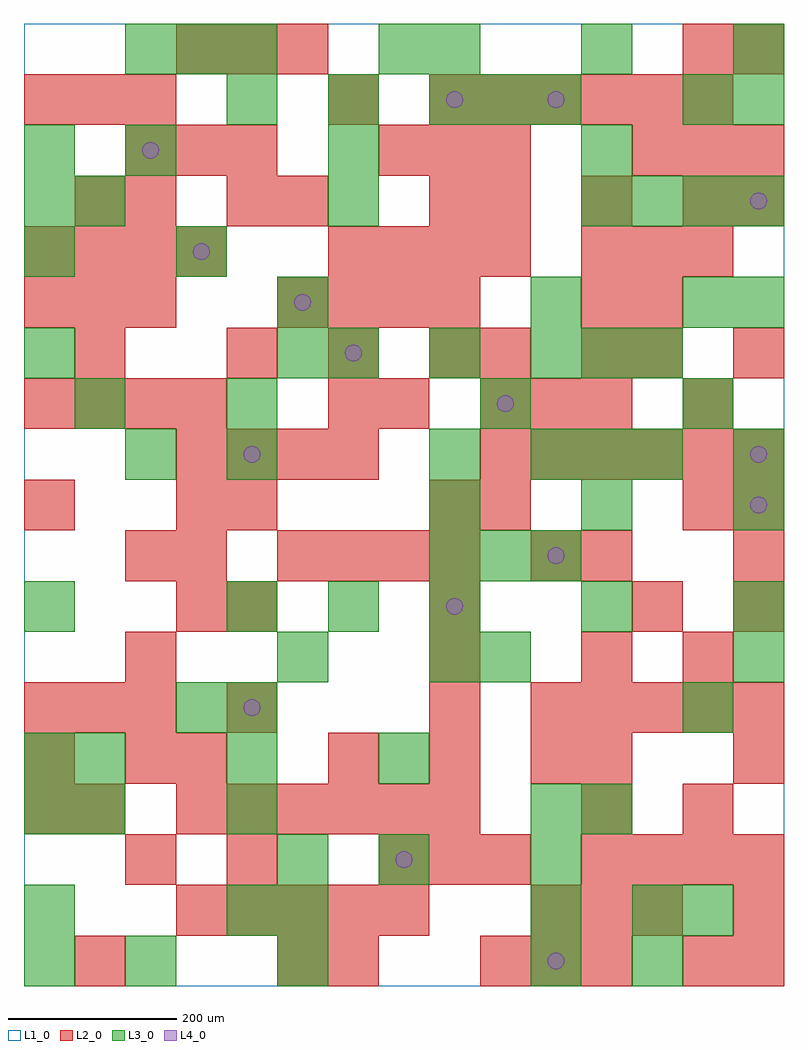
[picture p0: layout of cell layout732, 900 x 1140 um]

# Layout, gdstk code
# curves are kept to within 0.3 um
import gdstk
lib = gdstk.Library(unit=1e-6, precision=1e-09)
def R(c, l, rs):  # rectangles x0, y0, x1, y1
    for r in rs: c.add(gdstk.rectangle(r[:2], r[2:], *l))
def A(c, l, x, y, w, h, nx, ny, dx, dy):  # array of equal rectangles
    R(c, l, [(x+i*dx, y+j*dy, x+i*dx+w, y+j*dy+h) for i in range(nx) for j in range(ny)])
def P(c, l, *ps):  # polygons
    for p in ps: c.add(gdstk.Polygon(p, *l))
L1_0 = (1, 0)
L2_0 = (2, 0)
L3_0 = (3, 0)
L4_0 = (4, 0)

layout732 = lib.new_cell('layout732')
R(layout732, L1_0, [(0,0,900,1140)])
A(layout732, L2_0, 540, 0, 60, 60, 3, 2, 60, 660)
A(layout732, L2_0, 780, 0, 60, 60, 1, 4, 0, 180)
A(layout732, L2_0, 180, 60, 60, 60, 5, 1, 60, 0)
A(layout732, L2_0, 600, 60, 60, 60, 3, 1, 60, 0)
A(layout732, L2_0, 840, 60, 60, 60, 1, 3, 0, 180)
A(layout732, L2_0, 120, 120, 60, 60, 1, 4, 0, 120)
A(layout732, L2_0, 420, 120, 60, 60, 3, 2, 60, 840)
A(layout732, L2_0, 660, 120, 60, 60, 4, 1, 60, 0)
A(layout732, L2_0, 180, 180, 60, 60, 6, 1, 60, 0)
A(layout732, L2_0, 360, 240, 60, 60, 3, 1, 120, 0)
A(layout732, L2_0, 660, 240, 60, 60, 1, 3, 0, 120)
A(layout732, L2_0, 0, 300, 60, 60, 3, 2, 60, 480)
A(layout732, L2_0, 600, 300, 60, 60, 5, 1, 60, 0)
A(layout732, L2_0, 180, 420, 60, 60, 1, 3, 0, 60)
A(layout732, L2_0, 240, 420, 60, 60, 3, 1, 240, 0)
A(layout732, L2_0, 300, 480, 60, 60, 4, 2, 60, 300)
A(layout732, L2_0, 840, 540, 60, 60, 1, 4, 0, 180)
A(layout732, L2_0, 180, 600, 60, 60, 4, 1, 60, 0)
A(layout732, L2_0, 540, 600, 60, 60, 6, 1, 60, 0)
A(layout732, L2_0, 0, 660, 60, 60, 4, 2, 60, 180)
A(layout732, L2_0, 240, 720, 60, 60, 3, 1, 120, 0)
A(layout732, L2_0, 360, 840, 60, 60, 4, 1, 60, 0)
A(layout732, L2_0, 660, 840, 60, 60, 3, 1, 60, 0)
A(layout732, L2_0, 540, 900, 60, 60, 3, 1, 120, 0)
A(layout732, L2_0, 120, 960, 60, 60, 3, 1, 60, 0)
A(layout732, L2_0, 720, 960, 60, 60, 3, 1, 60, 0)
A(layout732, L2_0, 0, 1020, 60, 60, 3, 1, 60, 0)
A(layout732, L2_0, 480, 1020, 60, 60, 6, 1, 60, 0)
A(layout732, L2_0, 180, 1080, 60, 60, 3, 1, 60, 0)
R(layout732, L2_0, [(60,0,120,60), (300,0,360,60), (360,0,420,60), (840,0,900,60), (240,120,300,180), (0,180,60,240), (60,180,120,240), (660,180,720,240), (0,240,60,300), (180,240,240,300), (240,300,300,360), (480,300,540,360), (480,360,540,420), (600,480,660,540), (840,480,900,540), (0,540,60,600), (240,540,300,600), (480,540,540,600), (540,540,600,600), (360,660,420,720), (420,660,480,720), (780,660,840,720), (60,720,120,780), (540,720,600,780), (660,720,720,780), (720,720,780,780), (660,780,720,840), (720,780,780,840), (60,900,120,960), (120,900,180,960), (240,900,300,960), (300,900,360,960), (480,900,540,960), (360,1020,420,1080), (780,1080,840,1140)])
A(layout732, L3_0, 300, 0, 60, 60, 1, 3, 0, 60)
A(layout732, L3_0, 600, 0, 60, 60, 1, 4, 0, 60)
A(layout732, L3_0, 240, 60, 60, 60, 1, 3, 0, 120)
A(layout732, L3_0, 60, 240, 60, 60, 3, 1, 180, 0)
A(layout732, L3_0, 240, 420, 60, 60, 3, 2, 120, 600)
A(layout732, L3_0, 840, 420, 60, 60, 1, 3, 0, 180)
A(layout732, L3_0, 480, 480, 60, 60, 3, 1, 60, 0)
A(layout732, L3_0, 480, 540, 60, 60, 3, 2, 180, 540)
A(layout732, L3_0, 600, 600, 60, 60, 3, 1, 60, 0)
A(layout732, L3_0, 360, 720, 60, 60, 3, 1, 120, 0)
A(layout732, L3_0, 0, 840, 60, 60, 1, 3, 0, 60)
A(layout732, L3_0, 60, 900, 60, 60, 3, 1, 300, 0)
A(layout732, L3_0, 720, 900, 60, 60, 3, 1, 60, 0)
A(layout732, L3_0, 120, 1080, 60, 60, 3, 1, 60, 0)
R(layout732, L3_0, [(0,0,60,60), (120,0,180,60), (720,0,780,60), (0,60,60,120), (720,60,780,120), (780,60,840,120), (420,120,480,180), (0,180,60,240), (60,180,120,240), (660,180,720,240), (0,240,60,300), (180,300,240,360), (780,300,840,360), (300,360,360,420), (480,360,540,420), (540,360,600,420), (840,360,900,420), (0,420,60,480), (660,420,720,480), (120,600,180,660), (240,600,300,660), (480,600,540,660), (60,660,120,720), (240,660,300,720), (540,660,600,720), (780,660,840,720), (0,720,60,780), (300,720,360,780), (660,720,720,780), (720,720,780,780), (300,780,360,840), (600,780,660,840), (780,780,840,840), (180,840,240,900), (120,960,180,1020), (360,960,420,1020), (660,960,720,1020), (540,1020,600,1080), (600,1020,660,1080), (780,1020,840,1080), (840,1020,900,1080), (420,1080,480,1140)])
P(layout732, L4_0, [(160,990),(159.239,993.827),(157.071,997.071),(153.827,999.239),(150,1000),(146.173,999.239),(142.929,997.071),(140.761,993.827),(140,990),(140.761,986.173),(142.929,982.929),(146.173,980.761),(150,980),(153.827,980.761),(157.071,982.929),(159.239,986.173)],
  [(220,870),(219.239,873.827),(217.071,877.071),(213.827,879.239),(210,880),(206.173,879.239),(202.929,877.071),(200.761,873.827),(200,870),(200.761,866.173),(202.929,862.929),(206.173,860.761),(210,860),(213.827,860.761),(217.071,862.929),(219.239,866.173)],
  [(280,330),(279.239,333.827),(277.071,337.071),(273.827,339.239),(270,340),(266.173,339.239),(262.929,337.071),(260.761,333.827),(260,330),(260.761,326.173),(262.929,322.929),(266.173,320.761),(270,320),(273.827,320.761),(277.071,322.929),(279.239,326.173)],
  [(280,630),(279.239,633.827),(277.071,637.071),(273.827,639.239),(270,640),(266.173,639.239),(262.929,637.071),(260.761,633.827),(260,630),(260.761,626.173),(262.929,622.929),(266.173,620.761),(270,620),(273.827,620.761),(277.071,622.929),(279.239,626.173)],
  [(340,810),(339.239,813.827),(337.071,817.071),(333.827,819.239),(330,820),(326.173,819.239),(322.929,817.071),(320.761,813.827),(320,810),(320.761,806.173),(322.929,802.929),(326.173,800.761),(330,800),(333.827,800.761),(337.071,802.929),(339.239,806.173)],
  [(400,750),(399.239,753.827),(397.071,757.071),(393.827,759.239),(390,760),(386.173,759.239),(382.929,757.071),(380.761,753.827),(380,750),(380.761,746.173),(382.929,742.929),(386.173,740.761),(390,740),(393.827,740.761),(397.071,742.929),(399.239,746.173)],
  [(460,150),(459.239,153.827),(457.071,157.071),(453.827,159.239),(450,160),(446.173,159.239),(442.929,157.071),(440.761,153.827),(440,150),(440.761,146.173),(442.929,142.929),(446.173,140.761),(450,140),(453.827,140.761),(457.071,142.929),(459.239,146.173)],
  [(520,450),(519.239,453.827),(517.071,457.071),(513.827,459.239),(510,460),(506.173,459.239),(502.929,457.071),(500.761,453.827),(500,450),(500.761,446.173),(502.929,442.929),(506.173,440.761),(510,440),(513.827,440.761),(517.071,442.929),(519.239,446.173)],
  [(520,1050),(519.239,1053.827),(517.071,1057.071),(513.827,1059.239),(510,1060),(506.173,1059.239),(502.929,1057.071),(500.761,1053.827),(500,1050),(500.761,1046.173),(502.929,1042.929),(506.173,1040.761),(510,1040),(513.827,1040.761),(517.071,1042.929),(519.239,1046.173)],
  [(580,690),(579.239,693.827),(577.071,697.071),(573.827,699.239),(570,700),(566.173,699.239),(562.929,697.071),(560.761,693.827),(560,690),(560.761,686.173),(562.929,682.929),(566.173,680.761),(570,680),(573.827,680.761),(577.071,682.929),(579.239,686.173)],
  [(640,30),(639.239,33.827),(637.071,37.071),(633.827,39.239),(630,40),(626.173,39.239),(622.929,37.071),(620.761,33.827),(620,30),(620.761,26.173),(622.929,22.929),(626.173,20.761),(630,20),(633.827,20.761),(637.071,22.929),(639.239,26.173)],
  [(640,510),(639.239,513.827),(637.071,517.071),(633.827,519.239),(630,520),(626.173,519.239),(622.929,517.071),(620.761,513.827),(620,510),(620.761,506.173),(622.929,502.929),(626.173,500.761),(630,500),(633.827,500.761),(637.071,502.929),(639.239,506.173)],
  [(640,1050),(639.239,1053.827),(637.071,1057.071),(633.827,1059.239),(630,1060),(626.173,1059.239),(622.929,1057.071),(620.761,1053.827),(620,1050),(620.761,1046.173),(622.929,1042.929),(626.173,1040.761),(630,1040),(633.827,1040.761),(637.071,1042.929),(639.239,1046.173)],
  [(880,570),(879.239,573.827),(877.071,577.071),(873.827,579.239),(870,580),(866.173,579.239),(862.929,577.071),(860.761,573.827),(860,570),(860.761,566.173),(862.929,562.929),(866.173,560.761),(870,560),(873.827,560.761),(877.071,562.929),(879.239,566.173)],
  [(880,630),(879.239,633.827),(877.071,637.071),(873.827,639.239),(870,640),(866.173,639.239),(862.929,637.071),(860.761,633.827),(860,630),(860.761,626.173),(862.929,622.929),(866.173,620.761),(870,620),(873.827,620.761),(877.071,622.929),(879.239,626.173)],
  [(880,930),(879.239,933.827),(877.071,937.071),(873.827,939.239),(870,940),(866.173,939.239),(862.929,937.071),(860.761,933.827),(860,930),(860.761,926.173),(862.929,922.929),(866.173,920.761),(870,920),(873.827,920.761),(877.071,922.929),(879.239,926.173)])

lib.write_gds('layout732.gds')
